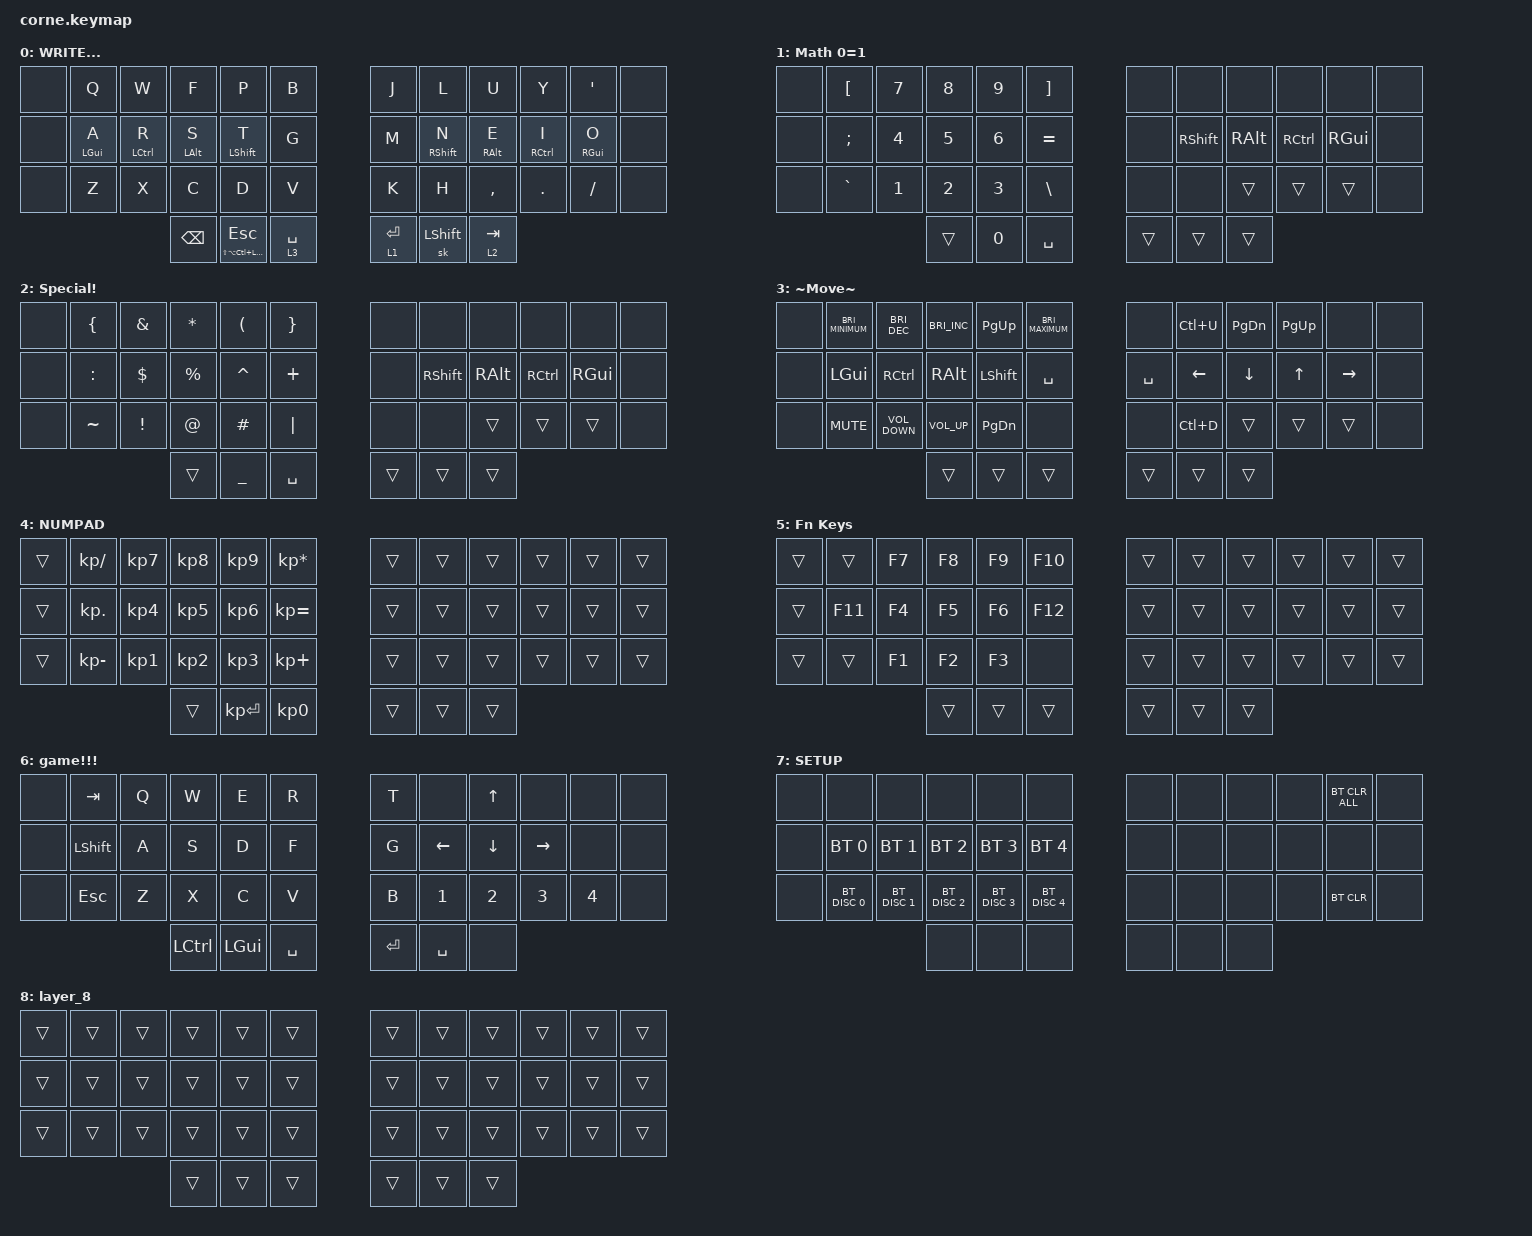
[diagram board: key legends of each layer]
/*
 * Copyright (c) 2020 The ZMK Contributors
 *
 * SPDX-License-Identifier: MIT
 */

#include <behaviors.dtsi>
#include <dt-bindings/zmk/bt.h>
#include <dt-bindings/zmk/keys.h>

/ {
    behaviors {
        hold_or_kp: hold_or_kp {
            compatible = "zmk,behavior-hold-tap";
            label = "HOLD_OR_KP";
            bindings = <&kp>, <&kp>;

            #binding-cells = <2>;
            tapping-term-ms = <150>;
            flavor = "hold-preferred";
            require-prior-idle-ms = <25>;
            hold-trigger-key-positions = <15 16 14 19 20 21 22 13 0 1 2 4 5 6 7 9 10 11 12 13 14 15 16 17 18 19 20 21 22 23 24 25 26 27 28 29 30 31 32 33 34 35 39 40 41 8 3 36 38>;
            retro-tap;
        };

        mo_or_kp_right: mo_or_kp_right {
            compatible = "zmk,behavior-hold-tap";
            label = "MO_OR_KP_RIGHT";
            bindings = <&mo>, <&kp>;

            #binding-cells = <2>;
            tapping-term-ms = <190>;
            quick-tap-ms = <170>;
            require-prior-idle-ms = <50>;
            flavor = "balanced";
            hold-trigger-key-positions = <19 20 21 22 1 2 3 4 5 13 14 15 16 17 25 26 27 28 29 37 7 8 9 10 19 20 21 22 31 32 33 34 6 18 30>;
        };

        hmr_left: hmr_left {
            compatible = "zmk,behavior-hold-tap";
            label = "HMR_LEFT";
            bindings = <&kp>, <&kp>;

            #binding-cells = <2>;
            tapping-term-ms = <190>;
            flavor = "balanced";
            quick-tap-ms = <170>;
            require-prior-idle-ms = <150>;
            hold-trigger-on-release;
            hold-while-undecided;
        };

        hmr_right: hmr_right {
            compatible = "zmk,behavior-hold-tap";
            label = "HMR_RIGHT";
            bindings = <&kp>, <&kp>;

            #binding-cells = <2>;
            tapping-term-ms = <190>;
            quick-tap-ms = <170>;
            require-prior-idle-ms = <150>;
            flavor = "balanced";
            hold-trigger-on-release;
            hold-while-undecided;
        };

        mo_or_kp_left: mo_or_kp_left {
            compatible = "zmk,behavior-hold-tap";
            label = "MO_OR_KP_LEFT";
            bindings = <&mo>, <&kp>;

            #binding-cells = <2>;
            tapping-term-ms = <190>;
            quick-tap-ms = <170>;
            require-prior-idle-ms = <50>;
            flavor = "balanced";
            hold-trigger-key-positions = <13 14 15 16 6 7 8 9 10 18 19 20 21 22 30 31 32 33 34 1 2 3 4 5 13 14 15 16 17 25 26 27 28 29>;
        };
    };

    combos {
        compatible = "zmk,combos";

        left_enter {
            bindings = <&kp ENTER>;
            key-positions = <2 4 3>;
            require-prior-idle-ms = <180>;
        };

        setup_layer_hold {
            bindings = <&mo 7>;
            key-positions = <40 41 39>;
            require-prior-idle-ms = <500>;
        };

        left_delete {
            bindings = <&kp DELETE>;
            key-positions = <28 27 26>;
            require-prior-idle-ms = <180>;
        };

        game_layer_toggle {
            bindings = <&tog 6>;
            key-positions = <38 37 36>;
            require-prior-idle-ms = <500>;
        };

        left_tab {
            bindings = <&kp TAB>;
            key-positions = <3 4>;
            require-prior-idle-ms = <180>;
        };

        Numpad_Layer {
            bindings = <&mo 4>;
            key-positions = <39 31>;
        };

        Function_Layer {
            bindings = <&mo 5>;
            key-positions = <31 40>;
        };

        equal {
            bindings = <&kp EQUAL>;
            key-positions = <19 20 21>;
        };

        colon {
            bindings = <&kp COLON>;
            key-positions = <14 15 16>;
        };

        left_brace {
            bindings = <&kp LEFT_BRACE>;
            key-positions = <8 20>;
        };

        right_brace {
            bindings = <&kp RIGHT_BRACE>;
            key-positions = <3 15>;
        };

        or {
            bindings = <&kp PIPE>;
            key-positions = <31 32>;
        };

        and {
            bindings = <&kp AMPERSAND>;
            key-positions = <33 32>;
        };

        exclamation {
            bindings = <&kp EXCLAMATION>;
            key-positions = <7 8 9>;
        };

        left_paren {
            bindings = <&kp LEFT_PARENTHESIS>;
            key-positions = <7 19>;
        };

        right_paren {
            bindings = <&kp RIGHT_PARENTHESIS>;
            key-positions = <16 4>;
        };

        left_bracket {
            bindings = <&kp LEFT_BRACKET>;
            key-positions = <9 21>;
        };

        right_bracket {
            bindings = <&kp RIGHT_BRACKET>;
            key-positions = <2 14>;
        };

        question {
            bindings = <&kp QUESTION>;
            key-positions = <19 31>;
        };

        less_than {
            bindings = <&kp LESS_THAN>;
            key-positions = <20 32>;
        };

        greater_than {
            bindings = <&kp GREATER_THAN>;
            key-positions = <15 27>;
        };

        plus {
            bindings = <&kp PLUS>;
            key-positions = <16 28>;
        };

        asterisk {
            bindings = <&kp ASTERISK>;
            key-positions = <21 33>;
        };

        hyper_right {
            bindings = <&hold_or_kp LS(LA(LC(LEFT_COMMAND))) ESCAPE>;
            key-positions = <39 40>;
        };

        right_delete {
            bindings = <&kp DELETE>;
            key-positions = <40 41>;
        };

        left_tab_2 {
            bindings = <&kp TAB>;
            key-positions = <37 36>;
        };

        underscore {
            bindings = <&kp UNDERSCORE>;
            key-positions = <5 17>;
        };

        weird_quote {
            bindings = <&kp GRAVE>;
            key-positions = <18 30>;
        };

        double_quote {
            bindings = <&kp DOUBLE_QUOTES>;
            key-positions = <18 6>;
        };

        dollar {
            bindings = <&kp DOLLAR>;
            key-positions = <26 14>;
        };

        minus {
            bindings = <&kp MINUS>;
            key-positions = <17 29>;
        };

        copy {
            bindings = <&kp LG(C)>;
            key-positions = <18 19>;
        };

        paste {
            bindings = <&kp LG(V)>;
            key-positions = <30 31>;
        };

        cut {
            bindings = <&kp LG(X)>;
            key-positions = <6 7>;
        };

        undo {
            bindings = <&kp LG(Z)>;
            key-positions = <17 16>;
        };

        redo {
            bindings = <&kp LG(LS(Z))>;
            key-positions = <4 5>;
        };

        select_all {
            bindings = <&kp LG(A)>;
            key-positions = <29 28>;
        };
    };

    keymap {
        compatible = "zmk,keymap";

        WRITE {
            // -----------------------------------------------------------------------------------------
            // |  TAB |  Q  |  W  |  E  |  R  |  T  |   |  Y  |  U   |  I  |  O  |  P  | BSPC |
            // | CTRL |  A  |  S  |  D  |  F  |  G  |   |  H  |  J   |  K  |  L  |  ;  |  '   |
            // | SHFT |  Z  |  X  |  C  |  V  |  B  |   |  N  |  M   |  ,  |  .  |  /  | ESC  |
            //                    | GUI | LWR | SPC |   | ENT | RSE  | ALT |

            bindings = <
&none  &kp Q                 &kp W                     &kp F                 &kp P                                        &kp B                     &kp J                    &kp L                     &kp U                   &kp Y                       &kp SQT                 &none
&none  &hmr_left LEFT_GUI A  &hmr_left LEFT_CONTROL R  &hmr_left LEFT_ALT S  &hmr_left LEFT_SHIFT T                       &kp G                     &kp M                    &hmr_right RIGHT_SHIFT N  &hmr_right RIGHT_ALT E  &hmr_right RIGHT_CONTROL I  &hmr_right RIGHT_GUI O  &none
&none  &kp Z                 &kp X                     &kp C                 &kp D                                        &kp V                     &kp K                    &kp H                     &kp COMMA               &kp DOT                     &kp FSLH                &none
                                                       &kp BACKSPACE         &hold_or_kp LS(LA(LC(LEFT_COMMAND))) ESCAPE  &mo_or_kp_left 3 SPACE    &mo_or_kp_right 1 ENTER  &sk LEFT_SHIFT            &mo_or_kp_right 2 TAB
            >;

            label = "WRITE...";
        };

        MATH {
            bindings = <
&none  &kp LBKT   &kp N7        &kp N8  &kp N9        &kp RBKT     &none   &none            &none          &none              &none          &none
&none  &kp SEMI   &kp N4        &kp N5  &kp N6        &kp EQUAL    &none   &kp RIGHT_SHIFT  &kp RIGHT_ALT  &kp RIGHT_CONTROL  &kp RIGHT_GUI  &none
&none  &kp GRAVE  &kp NUMBER_1  &kp N2  &kp N3        &kp BSLH     &none   &none            &trans         &trans             &trans         &none
                                &trans  &kp NUMBER_0  &kp SPACE    &trans  &trans           &trans
            >;

            label = "Math 0=1";
        };

        SPECIAL {
            bindings = <
&none  &kp LEFT_BRACE  &kp AMPERSAND    &kp ASTERISK  &kp LEFT_PARENTHESIS  &kp RIGHT_BRACE    &none   &none            &none          &none              &none          &none
&none  &kp COLON       &kp DOLLAR       &kp PERCENT   &kp CARET             &kp PLUS           &none   &kp RIGHT_SHIFT  &kp RIGHT_ALT  &kp RIGHT_CONTROL  &kp RIGHT_GUI  &none
&none  &kp TILDE       &kp EXCLAMATION  &kp AT_SIGN   &kp HASH              &kp PIPE           &none   &none            &trans         &trans             &trans         &none
                                        &trans        &kp UNDERSCORE        &kp SPACE          &trans  &trans           &trans
            >;

            label = "Special!";
        };

        MOVE {
            bindings = <
&none  &kp C_BRIGHTNESS_MINIMUM  &kp C_BRIGHTNESS_DEC  &kp C_BRIGHTNESS_INC  &kp PAGE_UP     &kp C_BRIGHTNESS_MAXIMUM    &none      &kp LC(U)       &kp PAGE_DOWN   &kp PAGE_UP   &none            &none
&none  &kp LEFT_GUI              &kp RIGHT_CONTROL     &kp RIGHT_ALT         &kp LEFT_SHIFT  &kp SPACE                   &kp SPACE  &kp LEFT_ARROW  &kp DOWN_ARROW  &kp UP_ARROW  &kp RIGHT_ARROW  &none
&none  &kp K_MUTE                &kp C_VOLUME_DOWN     &kp C_VOLUME_UP       &kp PAGE_DOWN   &none                       &none      &kp LC(D)       &trans          &trans        &trans           &none
                                                       &trans                &trans          &trans                      &trans     &trans          &trans
            >;

            label = "~Move~";
        };

        NUMPAD {
            bindings = <
&trans  &kp KP_DIVIDE  &kp KP_NUMBER_7  &kp KP_NUMBER_8  &kp KP_NUMBER_9  &kp KP_MULTIPLY    &trans  &trans  &trans  &trans  &trans  &trans
&trans  &kp KP_DOT     &kp KP_NUMBER_4  &kp KP_NUMBER_5  &kp KP_NUMBER_6  &kp KP_EQUAL       &trans  &trans  &trans  &trans  &trans  &trans
&trans  &kp KP_MINUS   &kp KP_NUMBER_1  &kp KP_NUMBER_2  &kp KP_NUMBER_3  &kp KP_PLUS        &trans  &trans  &trans  &trans  &trans  &trans
                                        &trans           &kp KP_ENTER     &kp KP_NUMBER_0    &trans  &trans  &trans
            >;

            label = "NUMPAD";
        };

        FN {
            bindings = <
&trans  &trans   &kp F7  &kp F8  &kp F9  &kp F10    &trans  &trans  &trans  &trans  &trans  &trans
&trans  &kp F11  &kp F4  &kp F5  &kp F6  &kp F12    &trans  &trans  &trans  &trans  &trans  &trans
&trans  &trans   &kp F1  &kp F2  &kp F3  &none      &trans  &trans  &trans  &trans  &trans  &trans
                         &trans  &trans  &trans     &trans  &trans  &trans
            >;

            label = "Fn Keys";
        };

        GAME {
            bindings = <
&none  &kp TAB    &kp Q  &kp W      &kp E     &kp R        &kp T      &none      &kp UP    &none      &none   &none
&none  &kp LSHFT  &kp A  &kp S      &kp D     &kp F        &kp G      &kp LEFT   &kp DOWN  &kp RIGHT  &none   &none
&none  &kp ESC    &kp Z  &kp X      &kp C     &kp V        &kp B      &kp N1     &kp N2    &kp N3     &kp N4  &none
                         &kp LCTRL  &kp LGUI  &kp SPACE    &kp ENTER  &kp SPACE  &none
            >;

            label = "game!!!";
        };

        SETUP {
            bindings = <
&none  &none          &none          &none          &none          &none            &none  &none  &none  &none  &bt BT_CLR_ALL  &none
&none  &bt BT_SEL 0   &bt BT_SEL 1   &bt BT_SEL 2   &bt BT_SEL 3   &bt BT_SEL 4     &none  &none  &none  &none  &none           &none
&none  &bt BT_DISC 0  &bt BT_DISC 1  &bt BT_DISC 2  &bt BT_DISC 3  &bt BT_DISC 4    &none  &none  &none  &none  &bt BT_CLR      &none
                                     &none          &none          &none            &none  &none  &none
            >;

            label = "SETUP";
        };

        layer_8 {
            bindings = <
&trans  &trans  &trans  &trans  &trans  &trans    &trans  &trans  &trans  &trans  &trans  &trans
&trans  &trans  &trans  &trans  &trans  &trans    &trans  &trans  &trans  &trans  &trans  &trans
&trans  &trans  &trans  &trans  &trans  &trans    &trans  &trans  &trans  &trans  &trans  &trans
                        &trans  &trans  &trans    &trans  &trans  &trans
            >;
        };
    };
};
